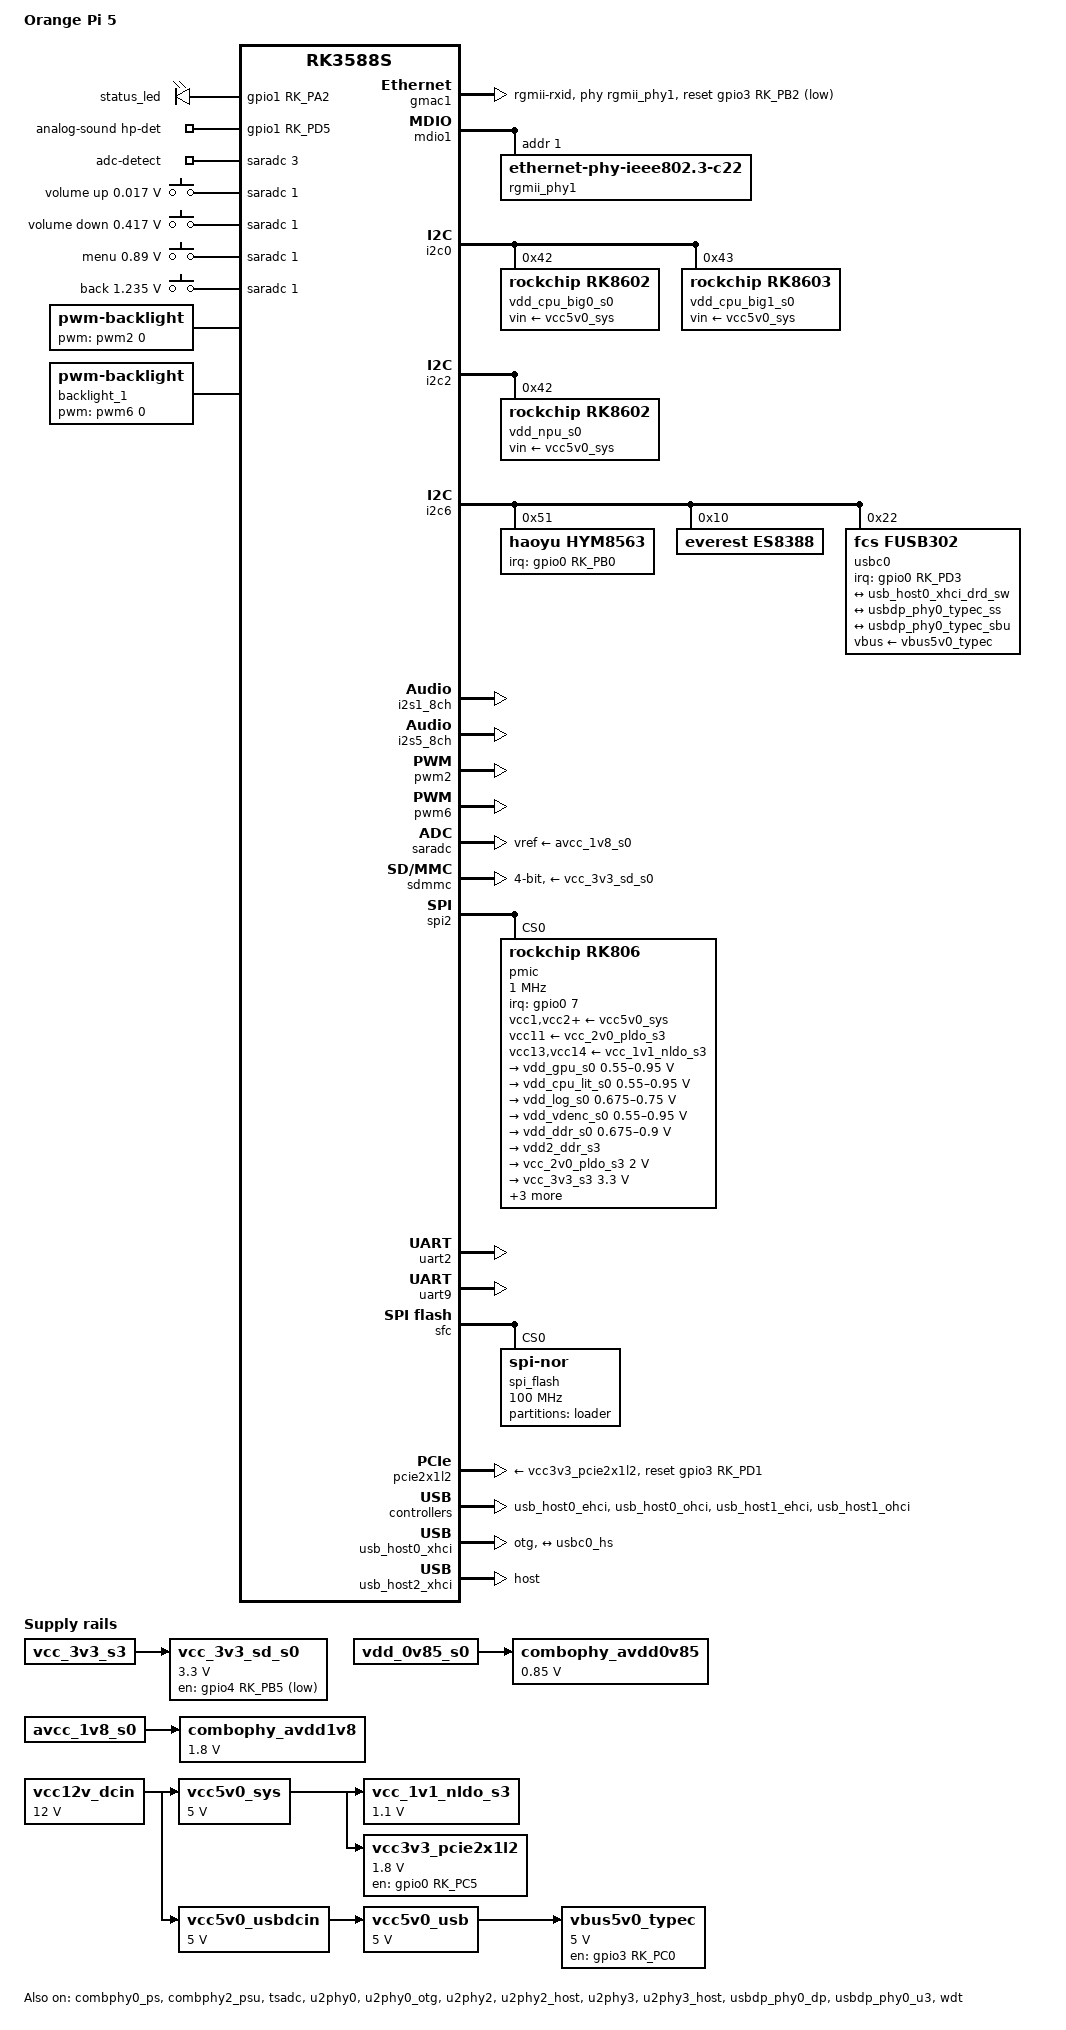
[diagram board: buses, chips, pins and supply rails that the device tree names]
// SPDX-License-Identifier: (GPL-2.0+ OR MIT)

/dts-v1/;

#include <dt-bindings/pinctrl/rockchip.h>
#include <dt-bindings/gpio/gpio.h>
#include <dt-bindings/input/input.h>
#include <dt-bindings/usb/pd.h>
#include "rk3588s.dtsi"

/ {
	model = "Orange Pi 5";
	compatible = "xunlong,orangepi-5", "rockchip,rk3588s";

	aliases {
		mmc0 = &sdmmc;
		//mmc1 = &sdhci;
		serial2 = &uart2;
	};

	chosen {
		stdout-path = "serial2:1500000n8";
	};

	gpio_leds: gpio-leds {
		compatible = "gpio-leds";
		pinctrl-names = "default";
		pinctrl-0 =<&leds_gpio>;
		status = "okay";

		led@1 {
			gpios = <&gpio1 RK_PA2 GPIO_ACTIVE_HIGH>;
			label = "status_led";
			linux,default-trigger = "heartbeat";
			linux,default-trigger-delay-ms = <0>;
		};
	};

	analog-sound {
		compatible = "simple-audio-card";
		pinctrl-names = "default";
		pinctrl-0 = <&hp_detect>;
		simple-audio-card,name = "ES8388 Audio";
		simple-audio-card,format = "i2s";
		simple-audio-card,mclk-fs = <256>;
		simple-audio-card,bitclock-master = <&masterdai>;
		simple-audio-card,frame-master = <&masterdai>;

		simple-audio-card,widgets =
			"Microphone", "Mic Jack",
			"Microphone", "Onboard Mic",
			"Headphone", "Headphones",
			"Speaker", "Speaker";
		simple-audio-card,routing =
			"Speaker Amplifier INL", "LOUT2",
			"Speaker Amplifier INR", "ROUT2",
			"Speaker", "Speaker Amplifier OUTL",
			"Speaker", "Speaker Amplifier OUTR",
			"Headphone Amplifier INL", "LOUT1",
			"Headphone Amplifier INR", "ROUT1",
			"Headphones", "Headphone Amplifier OUTL",
			"Headphones", "Headphone Amplifier OUTR",
			"LINPUT1", "Onboard Mic",
			"LINPUT2", "Onboard Mic",
			"RINPUT1", "Mic Jack",
			"RINPUT2", "Mic Jack";

		simple-audio-card,hp-det-gpio = <&gpio1 RK_PD5 GPIO_ACTIVE_HIGH>;
		io-channels = <&saradc 3>;
		io-channel-names = "adc-detect";

		simple-audio-card,cpu {
			sound-dai = <&i2s1_8ch>;
		};

		masterdai: simple-audio-card,codec {
			sound-dai = <&es8388>;
		};

		play-pause-key {
			label = "playpause";
			linux,code = <KEY_PLAYPAUSE>;
			press-threshold-microvolt = <2000>;
		};
	};

	adc_keys: adc-keys {
		compatible = "adc-keys";
		io-channels = <&saradc 1>;
		io-channel-names = "buttons";
		keyup-threshold-microvolt = <1800000>;
		poll-interval = <100>;

		vol-up-key {
			label = "volume up";
			linux,code = <KEY_VOLUMEUP>;
			press-threshold-microvolt = <17000>;
		};

		vol-down-key {
			label = "volume down";
			linux,code = <KEY_VOLUMEDOWN>;
			press-threshold-microvolt = <417000>;
		};

		menu-key {
			label = "menu";
			linux,code = <KEY_MENU>;
			press-threshold-microvolt = <890000>;
		};

		back-key {
			label = "back";
			linux,code = <KEY_BACK>;
			press-threshold-microvolt = <1235000>;
		};
	};

	backlight: backlight {
		compatible = "pwm-backlight";
		brightness-levels = <
			  0  20  20  21  21  22  22  23
			 23  24  24  25  25  26  26  27
			 27  28  28  29  29  30  30  31
			 31  32  32  33  33  34  34  35
			 35  36  36  37  37  38  38  39
			 40  41  42  43  44  45  46  47
			 48  49  50  51  52  53  54  55
			 56  57  58  59  60  61  62  63
			 64  65  66  67  68  69  70  71
			 72  73  74  75  76  77  78  79
			 80  81  82  83  84  85  86  87
			 88  89  90  91  92  93  94  95
			 96  97  98  99 100 101 102 103
			104 105 106 107 108 109 110 111
			112 113 114 115 116 117 118 119
			120 121 122 123 124 125 126 127
			128 129 130 131 132 133 134 135
			136 137 138 139 140 141 142 143
			144 145 146 147 148 149 150 151
			152 153 154 155 156 157 158 159
			160 161 162 163 164 165 166 167
			168 169 170 171 172 173 174 175
			176 177 178 179 180 181 182 183
			184 185 186 187 188 189 190 191
			192 193 194 195 196 197 198 199
			200 201 202 203 204 205 206 207
			208 209 210 211 212 213 214 215
			216 217 218 219 220 221 222 223
			224 225 226 227 228 229 230 231
			232 233 234 235 236 237 238 239
			240 241 242 243 244 245 246 247
			248 249 250 251 252 253 254 255
		>;
		default-brightness-level = <200>;
	};

	backlight_1: backlight_1 {
		compatible = "pwm-backlight";
		brightness-levels = <
			  0  20  20  21  21  22  22  23
			 23  24  24  25  25  26  26  27
			 27  28  28  29  29  30  30  31
			 31  32  32  33  33  34  34  35
			 35  36  36  37  37  38  38  39
			 40  41  42  43  44  45  46  47
			 48  49  50  51  52  53  54  55
			 56  57  58  59  60  61  62  63
			 64  65  66  67  68  69  70  71
			 72  73  74  75  76  77  78  79
			 80  81  82  83  84  85  86  87
			 88  89  90  91  92  93  94  95
			 96  97  98  99 100 101 102 103
			104 105 106 107 108 109 110 111
			112 113 114 115 116 117 118 119
			120 121 122 123 124 125 126 127
			128 129 130 131 132 133 134 135
			136 137 138 139 140 141 142 143
			144 145 146 147 148 149 150 151
			152 153 154 155 156 157 158 159
			160 161 162 163 164 165 166 167
			168 169 170 171 172 173 174 175
			176 177 178 179 180 181 182 183
			184 185 186 187 188 189 190 191
			192 193 194 195 196 197 198 199
			200 201 202 203 204 205 206 207
			208 209 210 211 212 213 214 215
			216 217 218 219 220 221 222 223
			224 225 226 227 228 229 230 231
			232 233 234 235 236 237 238 239
			240 241 242 243 244 245 246 247
			248 249 250 251 252 253 254 255
		>;
		default-brightness-level = <200>;
	};

	wireless_bluetooth: wireless-bluetooth {
		compatible = "bluetooth-platdata";
		clocks = <&hym8563>;
		clock-names = "ext_clock";
		uart_rts_gpios = <&gpio3 RK_PD2 GPIO_ACTIVE_LOW>;
		pinctrl-names = "default", "rts_gpio";
		pinctrl-0 = <&uart9m2_rtsn>, <&bt_gpio>;
		pinctrl-1 = <&uart9_gpios>;
		BT,reset_gpio    = <&gpio3 RK_PA6 GPIO_ACTIVE_HIGH>;
		BT,wake_gpio     = <&gpio0 RK_PC6 GPIO_ACTIVE_HIGH>;
		status = "disabled";
	};

	wireless_wlan: wireless-wlan {
		compatible = "wlan-platdata";
		wifi_chip_type = "ap6275p";
		pinctrl-names = "default";
		pinctrl-0 = <&wifi_host_wake_irq>, <&wifi_poweren_gpio>;
		WIFI,host_wake_irq = <&gpio0 RK_PA0 GPIO_ACTIVE_HIGH>;
		WIFI,poweren_gpio = <&gpio0 RK_PD0 GPIO_ACTIVE_HIGH>;
		status = "disabled";
	};

	vcc12v_dcin: vcc12v-dcin-regulator {
		compatible = "regulator-fixed";
		regulator-name = "vcc12v_dcin";
		regulator-always-on;
		regulator-boot-on;
		regulator-min-microvolt = <12000000>;
		regulator-max-microvolt = <12000000>;
	};

	vcc5v0_sys: vcc5v0-sys-regulator {
		compatible = "regulator-fixed";
		regulator-name = "vcc5v0_sys";
		regulator-always-on;
		regulator-boot-on;
		regulator-min-microvolt = <5000000>;
		regulator-max-microvolt = <5000000>;
		vin-supply = <&vcc12v_dcin>;
	};

	vcc_1v1_nldo_s3: vcc-1v1-nldo-s3-regulator {
		compatible = "regulator-fixed";
		regulator-name = "vcc_1v1_nldo_s3";
		regulator-always-on;
		regulator-boot-on;
		regulator-min-microvolt = <1100000>;
		regulator-max-microvolt = <1100000>;
		vin-supply = <&vcc5v0_sys>;
	};

	vcc_3v3_sd_s0: vcc-3v3-sd-s0-regulator {
		compatible = "regulator-fixed";
		regulator-name = "vcc_3v3_sd_s0";
		regulator-min-microvolt = <3300000>;
		regulator-max-microvolt = <3300000>;
		gpios = <&gpio4 RK_PB5 GPIO_ACTIVE_LOW>;
		enable-active-low;
		vin-supply = <&vcc_3v3_s3>;
		regulator-always-on;
		regulator-boot-on;
		regulator-state-mem {
			regulator-on-in-suspend;
		};
	};

	vcc5v0_usbdcin: vcc5v0-usbdcin-regulator {
		compatible = "regulator-fixed";
		regulator-name = "vcc5v0_usbdcin";
		regulator-always-on;
		regulator-boot-on;
		regulator-min-microvolt = <5000000>;
		regulator-max-microvolt = <5000000>;
		vin-supply = <&vcc12v_dcin>;
	};

	vcc5v0_usb: vcc5v0-usb-regulator {
		compatible = "regulator-fixed";
		regulator-name = "vcc5v0_usb";
		regulator-always-on;
		regulator-boot-on;
		regulator-min-microvolt = <5000000>;
		regulator-max-microvolt = <5000000>;
		vin-supply = <&vcc5v0_usbdcin>;
	};

	combophy_avdd0v85: combophy-avdd0v85-regulator {
		compatible = "regulator-fixed";
		regulator-name = "combophy_avdd0v85";
		regulator-boot-on;
		regulator-always-on;
		regulator-min-microvolt = <850000>;
		regulator-max-microvolt = <850000>;
		vin-supply = <&vdd_0v85_s0>;
	};

	combophy_avdd1v8: combophy-avdd1v8-regulator {
		compatible = "regulator-fixed";
		regulator-name = "combophy_avdd1v8";
		regulator-boot-on;
		regulator-always-on;
		regulator-min-microvolt = <1800000>;
		regulator-max-microvolt = <1800000>;
		vin-supply = <&avcc_1v8_s0>;
	};

	vcc3v3_pcie2x1l2: vcc3v3-pcie2x1l2-regulator {
		compatible = "regulator-fixed";
		regulator-name = "vcc3v3_pcie2x1l2";
		regulator-min-microvolt = <1800000>;
		regulator-max-microvolt = <1800000>;
		enable-active-high;
		regulator-boot-on;
		regulator-always-on;
		gpios = <&gpio0 RK_PC5 GPIO_ACTIVE_HIGH>;
		startup-delay-us = <50000>;
		vin-supply = <&vcc5v0_sys>;
	};

	vbus5v0_typec: vbus5v0-typec-regulator {
		compatible = "regulator-fixed";
		regulator-name = "vbus5v0_typec";
		regulator-min-microvolt = <5000000>;
		regulator-max-microvolt = <5000000>;
		enable-active-high;
		gpio = <&gpio3 RK_PC0 GPIO_ACTIVE_HIGH>;
		vin-supply = <&vcc5v0_usb>;
		pinctrl-names = "default";
		pinctrl-0 = <&typec5v_pwren>;
	};
};

&combphy0_ps {
	status = "okay";
};

&combphy2_psu {
	status = "okay";
};

&gmac1 {
	/* Use rgmii-rxid mode to disable rx delay inside Soc */
	phy-mode = "rgmii-rxid";
	clock_in_out = "output";

	snps,reset-gpio = <&gpio3 RK_PB2 GPIO_ACTIVE_LOW>;
	snps,reset-active-low;
	/* Reset time is 20ms, 100ms for rtl8211f */
	snps,reset-delays-us = <0 20000 100000>;

	pinctrl-names = "default";
	pinctrl-0 = <&gmac1_miim
	             &gmac1_tx_bus2
	             &gmac1_rx_bus2
	             &gmac1_rgmii_clk
	             &gmac1_rgmii_bus>;

	tx_delay = <0x42>;
	rx_delay = <0x3f>;

	phy-handle = <&rgmii_phy1>;
	status = "okay";
};

&mdio1 {
	rgmii_phy1: ethernet-phy@1 {
		compatible = "ethernet-phy-ieee802.3-c22";
		reg = <0x1>;
	};
};

&cpu_b0 {
	cpu-supply = <&vdd_cpu_big0_s0>;
	mem-supply = <&vdd_cpu_big0_mem_s0>;
};

&cpu_b1 {
	cpu-supply = <&vdd_cpu_big0_s0>;
	mem-supply = <&vdd_cpu_big0_mem_s0>;
};

&cpu_b2 {
	cpu-supply = <&vdd_cpu_big1_s0>;
	mem-supply = <&vdd_cpu_big1_mem_s0>;
};

&cpu_b3 {
	cpu-supply = <&vdd_cpu_big1_s0>;
	mem-supply = <&vdd_cpu_big1_mem_s0>;
};

&cpu_l0 {
	cpu-supply = <&vdd_cpu_lit_s0>;
	mem-supply = <&vdd_cpu_lit_mem_s0>;
};

&cpu_l1 {
	cpu-supply = <&vdd_cpu_lit_s0>;
	mem-supply = <&vdd_cpu_lit_mem_s0>;
};

&cpu_l2 {
	cpu-supply = <&vdd_cpu_lit_s0>;
	mem-supply = <&vdd_cpu_lit_mem_s0>;
};

&cpu_l3 {
	cpu-supply = <&vdd_cpu_lit_s0>;
	mem-supply = <&vdd_cpu_lit_mem_s0>;
};

&i2c0 {
	pinctrl-names = "default";
	pinctrl-0 = <&i2c0m2_xfer>;
	status = "okay";

	vdd_cpu_big0_s0: vdd_cpu_big0_mem_s0: regulator@42 {
		compatible = "rockchip,rk8602";
		reg = <0x42>;
		fcs,suspend-voltage-selector = <1>;
		regulator-name = "vdd_cpu_big0_s0";
		regulator-always-on;
		regulator-boot-on;
		regulator-min-microvolt = <550000>;
		regulator-max-microvolt = <1050000>;
		regulator-ramp-delay = <2300>;
		vin-supply = <&vcc5v0_sys>;

		regulator-state-mem {
			regulator-off-in-suspend;
		};
	};

	vdd_cpu_big1_s0: vdd_cpu_big1_mem_s0: regulator@43 {
		compatible = "rockchip,rk8603", "rockchip,rk8602";
		reg = <0x43>;
		fcs,suspend-voltage-selector = <1>;
		regulator-name = "vdd_cpu_big1_s0";
		regulator-always-on;
		regulator-boot-on;
		regulator-min-microvolt = <550000>;
		regulator-max-microvolt = <1050000>;
		regulator-ramp-delay = <2300>;
		vin-supply = <&vcc5v0_sys>;

		regulator-state-mem {
			regulator-off-in-suspend;
		};
	};
};

&i2c1 {
	pinctrl-names = "default";
	pinctrl-0 = <&i2c1m2_xfer>;
	status = "disabled";
};

&i2c2 {
	status = "okay";

	vdd_npu_s0: vdd_npu_mem_s0: rk8602@42 {
		compatible = "rockchip,rk8602";
		reg = <0x42>;
		vin-supply = <&vcc5v0_sys>;
		regulator-compatible = "rk860x-reg";
		regulator-name = "vdd_npu_s0";
		regulator-min-microvolt = <550000>;
		regulator-max-microvolt = <950000>;
		regulator-ramp-delay = <2300>;
		rockchip,suspend-voltage-selector = <1>;
		regulator-boot-on;
		regulator-always-on;

		regulator-state-mem {
			regulator-off-in-suspend;
		};
	};
};

&i2c3 {
	pinctrl-names = "default";
	pinctrl-0 = <&i2c3m0_xfer>;
	status = "disabled";
};

/*
   pin3: GPIO1_B7
   pin5: GPIO1_B6
*/
&i2c5 {
	pinctrl-names = "default";
	pinctrl-0 = <&i2c5m3_xfer>;
	status = "disabled";
};

&i2c6 {
	pinctrl-names = "default";
	pinctrl-0 = <&i2c6m3_xfer>;
	status = "okay";

	hym8563: rtc@51 {
		compatible = "haoyu,hym8563";
		reg = <0x51>;
		#clock-cells = <0>;
		clock-output-names = "hym8563";
		pinctrl-names = "default";
		pinctrl-0 = <&hym8563_int>;
		interrupt-parent = <&gpio0>;
		interrupts = <RK_PB0 IRQ_TYPE_LEVEL_LOW>;
		wakeup-source;
	};

	es8388: audio-codec@10 {
		compatible = "everest,es8388";
		reg = <0x10>;
		assigned-clock-rates = <12288000>;
		assigned-clocks = <&cru I2S1_8CH_MCLKOUT>;
		clock-names = "mclk";
		clocks = <&cru I2S1_8CH_MCLKOUT>;
		#sound-dai-cells = <0>;
		pinctrl-names = "default";
		pinctrl-0 = <&i2s1m0_mclk>;

	};

	usbc0: usb-typec@22 {
		compatible = "fcs,fusb302";
		reg = <0x22>;
		interrupt-parent = <&gpio0>;
		interrupts = <RK_PD3 IRQ_TYPE_LEVEL_LOW>;
		pinctrl-names = "default";
		pinctrl-0 = <&usbc0_int>;
		vbus-supply = <&vbus5v0_typec>;
		status = "okay";

		usb_con: connector {
			compatible = "usb-c-connector";
			label = "USB-C";
			data-role = "dual";
			power-role = "dual";
			try-power-role = "sink";
			op-sink-microwatt = <1000000>;
			sink-pdos =
				<PDO_FIXED(5000, 1000, PDO_FIXED_USB_COMM)>;
			source-pdos =
				<PDO_FIXED(5000, 3000, PDO_FIXED_USB_COMM)>;

			ports {
				#address-cells = <1>;
				#size-cells = <0>;

				port@0 {
					reg = <0>;
					usbc0_hs: endpoint {
						remote-endpoint = <&usb_host0_xhci_drd_sw>;
					};
				};

				port@1 {
					reg = <1>;
					usbc0_ss: endpoint {
						remote-endpoint = <&usbdp_phy0_typec_ss>;
					};
				};

				port@2 {
					reg = <2>;
					usbc0_sbu: endpoint {
						remote-endpoint = <&usbdp_phy0_typec_sbu>;
					};
				};
			};
		};
	};
};

&i2s1_8ch {
	rockchip,i2s-tx-route = <3 2 1 0>;
	rockchip,i2s-rx-route = <1 3 2 0>;
	pinctrl-names = "default";
	pinctrl-0 = <&i2s1m0_sclk
	             &i2s1m0_lrck
	             &i2s1m0_sdi1
	             &i2s1m0_sdo3>;
	status = "okay";
};

&i2s5_8ch {
	status = "okay";
};

&pinctrl {
	hym8563 {
		hym8563_int: hym8563-int {
			rockchip,pins = <0 RK_PB0 RK_FUNC_GPIO &pcfg_pull_none>;
		};
	};

	sound {
		hp_detect: hp-detect {
			rockchip,pins = <1 RK_PD5 RK_FUNC_GPIO &pcfg_pull_none>;
		};
	};

	gpio-func {
		leds_gpio: leds-gpio {
			rockchip,pins = <0 RK_PA2 RK_FUNC_GPIO &pcfg_pull_none>;
		};
	};

	sata {
		sata_reset:sata-reset{
			rockchip,pins = <3 RK_PD1 RK_FUNC_GPIO &pcfg_pull_up>;
		};
	};

	usb-typec {
		usbc0_int: usbc0-int {
			rockchip,pins = <0 RK_PD3 RK_FUNC_GPIO &pcfg_pull_up>;
		};

		typec5v_pwren: typec5v-pwren {
			rockchip,pins = <3 RK_PC0 RK_FUNC_GPIO &pcfg_pull_none>;
		};
	};

	wireless-bluetooth {
		uart9_gpios: uart9-gpios {
			rockchip,pins = <3 RK_PD2 RK_FUNC_GPIO &pcfg_pull_none>;
		};

		bt_gpio: bt-gpio {
			rockchip,pins =
				<3 RK_PA6 RK_FUNC_GPIO &pcfg_pull_none>,
				<0 RK_PC6 RK_FUNC_GPIO &pcfg_pull_up>;
		};
	};

	wireless-wlan {
		wifi_host_wake_irq: wifi-host-wake-irq {
			rockchip,pins = <0 RK_PA0 RK_FUNC_GPIO &pcfg_pull_down>;
		};

		wifi_poweren_gpio: wifi-poweren-gpio {
			rockchip,pins = <0 RK_PD0 RK_FUNC_GPIO &pcfg_pull_up>;
		};
	};
};

&pwm0 {
	pinctrl-names = "active";
	pinctrl-0 = <&pwm0m1_pins>;
	status = "disabled";
};

/*
   pin26: GPIO1_A3
*/
&pwm1 {
	pinctrl-names = "active";
	pinctrl-0 = <&pwm1m1_pins>;
	status = "disabled";
};

&pwm2 {
	pinctrl-names = "active";
	pinctrl-0 = <&pwm2m0_pins>;
	status = "okay";
};

&pwm3 {
	pinctrl-names = "active";
	pinctrl-0 = <&pwm3m2_pins>;
	status = "disabled";
};

&pwm6 {
	pinctrl-names = "active";
	pinctrl-0 = <&pwm6m0_pins>;
	status = "okay";
};

&pwm13 {
	pinctrl-names = "active";
	pinctrl-0 = <&pwm13m2_pins>;
	status = "disabled";
};

/*
   pin11: GPIO4_B2
   pin13: GPIO4_B3
*/
&pwm14 {
	pinctrl-names = "active";
	pinctrl-0 = <&pwm14m1_pins>;
	status = "disabled";
};

/*
   pin7: GPIO1_C6
*/
&pwm15 {
	pinctrl-names = "active";
	pinctrl-0 = <&pwm15m2_pins>;
	status = "disabled";
};

&backlight_1 {
	pwms = <&pwm6 0 25000 0>;
	status = "okay";
};

&backlight {
	pwms = <&pwm2 0 25000 0>;
	status = "okay";
};

&saradc {
	vref-supply = <&avcc_1v8_s0>;
	status = "okay";
};

&sdhci {
	bus-width = <8>;
	no-sdio;
	no-sd;
	non-removable;
	max-frequency = <200000000>;
	mmc-hs400-1_8v;
	mmc-hs400-enhanced-strobe;
	status = "disabled";
};

&sdmmc {
	max-frequency = <150000000>;
	no-sdio;
	no-mmc;
	bus-width = <4>;
	cap-mmc-highspeed;
	cap-sd-highspeed;
	disable-wp;
	sd-uhs-sdr104;
	vmmc-supply = <&vcc_3v3_sd_s0>;
	vqmmc-supply = <&vccio_sd_s0>;
	status = "okay";
};

&spi2 {
	status = "okay";
	assigned-clocks = <&cru CLK_SPI2>;
	assigned-clock-rates = <200000000>;
	pinctrl-names = "default";
	pinctrl-0 = <&spi2m2_cs0 &spi2m2_pins>;
	num-cs = <1>;

	pmic@0 {
		compatible = "rockchip,rk806";
		spi-max-frequency = <1000000>;
		reg = <0x0>;

		interrupt-parent = <&gpio0>;
		interrupts = <7 IRQ_TYPE_LEVEL_LOW>;

		pinctrl-names = "default";
		pinctrl-0 = <&pmic_pins>, <&rk806_dvs1_null>,
			    <&rk806_dvs2_null>, <&rk806_dvs3_null>;

		vcc1-supply = <&vcc5v0_sys>;
		vcc2-supply = <&vcc5v0_sys>;
		vcc3-supply = <&vcc5v0_sys>;
		vcc4-supply = <&vcc5v0_sys>;
		vcc5-supply = <&vcc5v0_sys>;
		vcc6-supply = <&vcc5v0_sys>;
		vcc7-supply = <&vcc5v0_sys>;
		vcc8-supply = <&vcc5v0_sys>;
		vcc9-supply = <&vcc5v0_sys>;
		vcc10-supply = <&vcc5v0_sys>;
		vcc11-supply = <&vcc_2v0_pldo_s3>;
		vcc12-supply = <&vcc5v0_sys>;
		vcc13-supply = <&vcc_1v1_nldo_s3>;
		vcc14-supply = <&vcc_1v1_nldo_s3>;
		vcca-supply = <&vcc5v0_sys>;

		gpio-controller;
		#gpio-cells = <2>;

		rk806_dvs1_null: dvs1-null-pins {
			pins = "gpio_pwrctrl2";
			function = "pin_fun0";
		};

		rk806_dvs2_null: dvs2-null-pins {
			pins = "gpio_pwrctrl2";
			function = "pin_fudr_moden0";
		};

		rk806_dvs3_null: dvs3-null-pins {
			pins = "gpio_pwrctrl3";
			function = "pin_fun0";
		};

		regulators {
			vdd_gpu_s0: vdd_gpu_mem_s0: dcdc-reg1 {
				regulator-boot-on;
				regulator-min-microvolt = <550000>;
				regulator-max-microvolt = <950000>;
				regulator-ramp-delay = <12500>;
				regulator-name = "vdd_gpu_s0";
				regulator-enable-ramp-delay = <400>;

				regulator-state-mem {
					regulator-off-in-suspend;
				};
			};

			vdd_cpu_lit_s0: vdd_cpu_lit_mem_s0: dcdc-reg2 {
				regulator-always-on;
				regulator-boot-on;
				regulator-min-microvolt = <550000>;
				regulator-max-microvolt = <950000>;
				regulator-ramp-delay = <12500>;
				regulator-name = "vdd_cpu_lit_s0";

				regulator-state-mem {
					regulator-off-in-suspend;
				};
			};

			vdd_log_s0: dcdc-reg3 {
				regulator-always-on;
				regulator-boot-on;
				regulator-min-microvolt = <675000>;
				regulator-max-microvolt = <750000>;
				regulator-ramp-delay = <12500>;
				regulator-name = "vdd_log_s0";

				regulator-state-mem {
					regulator-off-in-suspend;
					regulator-suspend-microvolt = <750000>;
				};
			};

			vdd_vdenc_s0: vdd_vdenc_mem_s0: dcdc-reg4 {
				regulator-always-on;
				regulator-boot-on;
				regulator-min-microvolt = <550000>;
				regulator-max-microvolt = <950000>;
				regulator-init-microvolt = <750000>;
				regulator-ramp-delay = <12500>;
				regulator-name = "vdd_vdenc_s0";

				regulator-state-mem {
					regulator-off-in-suspend;
				};
			};

			vdd_ddr_s0: dcdc-reg5 {
				regulator-always-on;
				regulator-boot-on;
				regulator-min-microvolt = <675000>;
				regulator-max-microvolt = <900000>;
				regulator-ramp-delay = <12500>;
				regulator-name = "vdd_ddr_s0";

				regulator-state-mem {
					regulator-off-in-suspend;
					regulator-suspend-microvolt = <850000>;
				};
			};

			vdd2_ddr_s3: dcdc-reg6 {
				regulator-always-on;
				regulator-boot-on;
				regulator-name = "vdd2_ddr_s3";

				regulator-state-mem {
					regulator-on-in-suspend;
				};
			};

			vcc_2v0_pldo_s3: dcdc-reg7 {
				regulator-always-on;
				regulator-boot-on;
				regulator-min-microvolt = <2000000>;
				regulator-max-microvolt = <2000000>;
				regulator-ramp-delay = <12500>;
				regulator-name = "vdd_2v0_pldo_s3";

				regulator-state-mem {
					regulator-on-in-suspend;
					regulator-suspend-microvolt = <2000000>;
				};
			};

			vcc_3v3_s3: dcdc-reg8 {
				regulator-always-on;
				regulator-boot-on;
				regulator-min-microvolt = <3300000>;
				regulator-max-microvolt = <3300000>;
				regulator-name = "vcc_3v3_s3";

				regulator-state-mem {
					regulator-on-in-suspend;
					regulator-suspend-microvolt = <3300000>;
				};
			};

			vddq_ddr_s0: dcdc-reg9 {
				regulator-always-on;
				regulator-boot-on;
				regulator-name = "vddq_ddr_s0";

				regulator-state-mem {
					regulator-off-in-suspend;
				};
			};

			vcc_1v8_s3: dcdc-reg10 {
				regulator-always-on;
				regulator-boot-on;
				regulator-min-microvolt = <1800000>;
				regulator-max-microvolt = <1800000>;
				regulator-name = "vcc_1v8_s3";

				regulator-state-mem {
					regulator-on-in-suspend;
					regulator-suspend-microvolt = <1800000>;
				};
			};

			avcc_1v8_s0: pldo-reg1 {
				regulator-always-on;
				regulator-boot-on;
				regulator-min-microvolt = <1800000>;
				regulator-max-microvolt = <1800000>;
				regulator-name = "avcc_1v8_s0";

				regulator-state-mem {
					regulator-off-in-suspend;
				};
			};

			vcc_1v8_s0: pldo-reg2 {
				regulator-always-on;
				regulator-boot-on;
				regulator-min-microvolt = <1800000>;
				regulator-max-microvolt = <1800000>;
				regulator-name = "vcc_1v8_s0";

				regulator-state-mem {
					regulator-off-in-suspend;
					regulator-suspend-microvolt = <1800000>;
				};
			};

			avdd_1v2_s0: pldo-reg3 {
				regulator-always-on;
				regulator-boot-on;
				regulator-min-microvolt = <1200000>;
				regulator-max-microvolt = <1200000>;
				regulator-name = "avdd_1v2_s0";

				regulator-state-mem {
					regulator-off-in-suspend;
				};
			};

			vcc_3v3_s0: pldo-reg4 {
				regulator-always-on;
				regulator-boot-on;
				regulator-min-microvolt = <3300000>;
				regulator-max-microvolt = <3300000>;
				regulator-ramp-delay = <12500>;
				regulator-name = "vcc_3v3_s0";

				regulator-state-mem {
					regulator-off-in-suspend;
				};
			};

			vccio_sd_s0: pldo-reg5 {
				regulator-always-on;
				regulator-boot-on;
				regulator-min-microvolt = <1800000>;
				regulator-max-microvolt = <3300000>;
				regulator-ramp-delay = <12500>;
				regulator-name = "vccio_sd_s0";

				regulator-state-mem {
					regulator-off-in-suspend;
				};
			};

			pldo6_s3: pldo-reg6 {
				regulator-always-on;
				regulator-boot-on;
				regulator-min-microvolt = <1800000>;
				regulator-max-microvolt = <1800000>;
				regulator-name = "pldo6_s3";

				regulator-state-mem {
					regulator-on-in-suspend;
					regulator-suspend-microvolt = <1800000>;
				};
			};

			vdd_0v75_s3: nldo-reg1 {
				regulator-always-on;
				regulator-boot-on;
				regulator-min-microvolt = <750000>;
				regulator-max-microvolt = <750000>;
				regulator-name = "vdd_0v75_s3";

				regulator-state-mem {
					regulator-on-in-suspend;
					regulator-suspend-microvolt = <750000>;
				};
			};

			vdd_ddr_pll_s0: nldo-reg2 {
				regulator-always-on;
				regulator-boot-on;
				regulator-min-microvolt = <850000>;
				regulator-max-microvolt = <850000>;
				regulator-name = "vdd_ddr_pll_s0";

				regulator-state-mem {
					regulator-off-in-suspend;
					regulator-suspend-microvolt = <850000>;
				};
			};

			avdd_0v75_s0: nldo-reg3 {
				regulator-always-on;
				regulator-boot-on;
				regulator-min-microvolt = <750000>;
				regulator-max-microvolt = <750000>;
				regulator-name = "avdd_0v75_s0";

				regulator-state-mem {
					regulator-off-in-suspend;
				};
			};

			vdd_0v85_s0: nldo-reg4 {
				regulator-always-on;
				regulator-boot-on;
				regulator-min-microvolt = <850000>;
				regulator-max-microvolt = <850000>;
				regulator-name = "vdd_0v85_s0";

				regulator-state-mem {
					regulator-off-in-suspend;
				};
			};

			vdd_0v75_s0: nldo-reg5 {
				regulator-always-on;
				regulator-boot-on;
				regulator-min-microvolt = <750000>;
				regulator-max-microvolt = <750000>;
				regulator-name = "vdd_0v75_s0";

				regulator-state-mem {
					regulator-off-in-suspend;
				};
			};
		};
	};
};

/*
   pin19: GPIO1_C1
   pin21: GPIO1_C0
   pin23: GPIO1_C2
   pin24: GPIO1_C4
*/
&spi4 {
	pinctrl-names = "default";
	pinctrl-0 = <&spi4m0_cs1 &spi4m0_pins>;
	assigned-clocks = <&cru CLK_SPI4>;
	assigned-clock-rates = <200000000>;
	num-cs = <2>;
	status = "disabled";

	spi_dev@1 {
		compatible = "rockchip,spidev";
		reg = <1>;
		spi-max-frequency = <50000000>;
	};
};

/*
   pin8:  GPIO4_A3
   pin10: GPIO4_A4
*/
&uart0 {
	pinctrl-names = "default";
	pinctrl-0 = <&uart0m2_xfer>;
	status = "disabled";
};

&uart1 {
	pinctrl-names = "default";
	pinctrl-0 = <&uart1m1_xfer>;
	status = "disabled";
};

&uart2 {
	pinctrl-0 = <&uart2m0_xfer>;
	status = "okay";
};

&uart3 {
	pinctrl-names = "default";
	pinctrl-0 = <&uart3m0_xfer>;
	status = "disabled";
};

/*
   pin16: GPIO1_D3
   pin18: GPIO1_D2
*/
&uart4 {
	pinctrl-names = "default";
	pinctrl-0 = <&uart4m0_xfer>;
	status = "disabled";
};

&uart9 {
	pinctrl-names = "default";
	pinctrl-0 = <&uart9m2_xfer &uart9m2_ctsn>;
	status = "okay";
};

&tsadc {
	status = "okay";
};

&sata0 {
	pinctrl-names = "default";
	pinctrl-0 = <&sata_reset>;
	status = "disabled";
};

&sfc {
	status = "okay";
	max-freq = <100000000>;
	#address-cells = <1>;
	#size-cells = <0>;
	pinctrl-names = "default";
	pinctrl-0 = <&fspim0_pins>;

	spi_flash: spi-flash@0 {
		#address-cells = <1>;
		#size-cells = <0>;
		compatible = "jedec,spi-nor";
		reg = <0x0>;
		spi-max-frequency = <100000000>;
		spi-tx-bus-width = <1>;
		spi-rx-bus-width = <4>;
		status = "okay";

		partitions {
			compatible = "fixed-partitions";
			#address-cells = <1>;
			#size-cells = <1>;

			loader@0 {
				label = "loader";
				reg = <0x0 0x1000000>;
			};
		};
	};
};


&pcie2x1l2 {
	reset-gpios = <&gpio3 RK_PD1 GPIO_ACTIVE_HIGH>;
	vpcie3v3-supply = <&vcc3v3_pcie2x1l2>;
	rockchip,skip-scan-in-resume;
	status = "okay";
};

&u2phy0 {
	status = "okay";
};

&u2phy0_otg {
	rockchip,typec-vbus-det;
	status = "okay";
};

&u2phy2 {
	status = "okay";
};

&u2phy2_host {
	status = "okay";
};

&u2phy3 {
	status = "okay";
};

&u2phy3_host {
	status = "okay";
};

&usbdp_phy0 {
	orientation-switch;
	mode-switch;
	svid = <0xff01>;
	sbu1-dc-gpios = <&gpio4 RK_PA5 GPIO_ACTIVE_HIGH>;
	sbu2-dc-gpios = <&gpio4 RK_PA7 GPIO_ACTIVE_HIGH>;

	port {
		#address-cells = <1>;
		#size-cells = <0>;

		usbdp_phy0_typec_ss: endpoint@0 {
			reg = <0>;
			remote-endpoint = <&usbc0_ss>;
		};

		usbdp_phy0_typec_sbu: endpoint@1 {
			reg = <1>;
			remote-endpoint = <&usbc0_sbu>;
		};
	};
};

&usbdp_phy0_dp {
	status = "okay";
};

&usbdp_phy0_u3 {
	status = "okay";
};

&usb_host0_ehci {
	status = "okay";
};

&usb_host0_ohci {
	status = "okay";
};

&usb_host0_xhci {
	usb-role-switch;
	dr_mode = "otg";
	status = "okay";

	port {
		#address-cells = <1>;
		#size-cells = <0>;

		usb_host0_xhci_drd_sw: endpoint {
			remote-endpoint = <&usbc0_hs>;
		};
	};
};

&usb_host1_ehci {
	status = "okay";
};

&usb_host1_ohci {
	status = "okay";
};

&usb_host2_xhci {
	dr_mode = "host";
	status = "okay";
};

&wdt {
	status = "okay";
};
